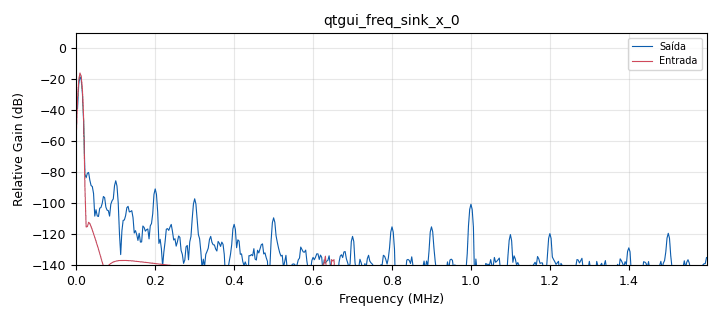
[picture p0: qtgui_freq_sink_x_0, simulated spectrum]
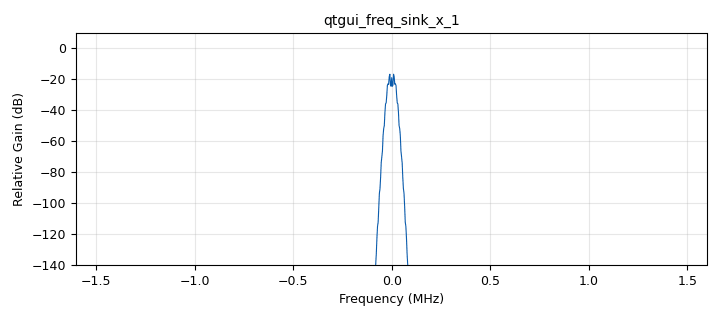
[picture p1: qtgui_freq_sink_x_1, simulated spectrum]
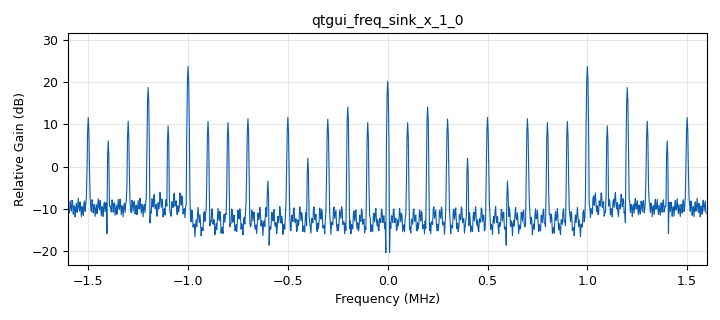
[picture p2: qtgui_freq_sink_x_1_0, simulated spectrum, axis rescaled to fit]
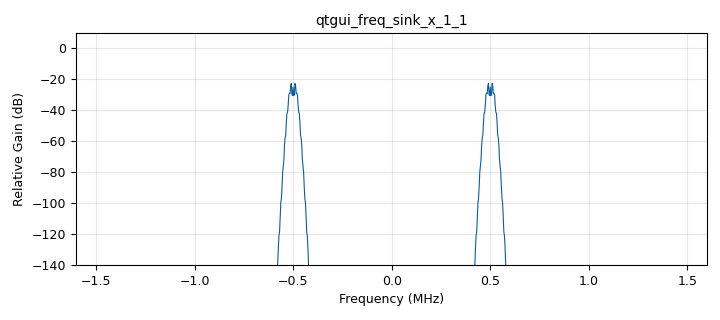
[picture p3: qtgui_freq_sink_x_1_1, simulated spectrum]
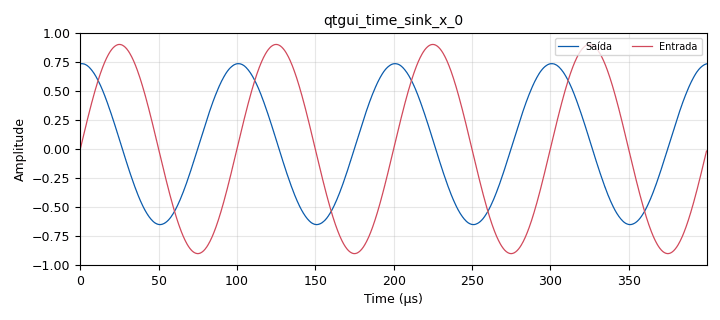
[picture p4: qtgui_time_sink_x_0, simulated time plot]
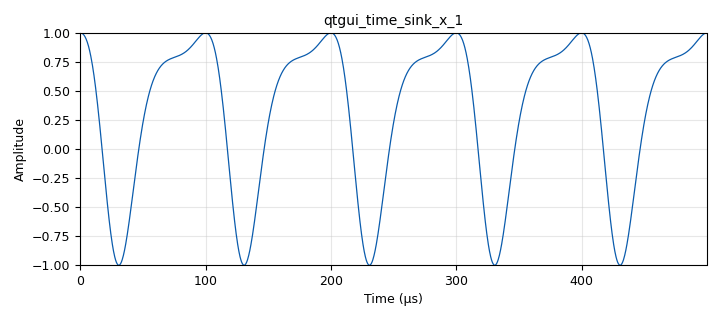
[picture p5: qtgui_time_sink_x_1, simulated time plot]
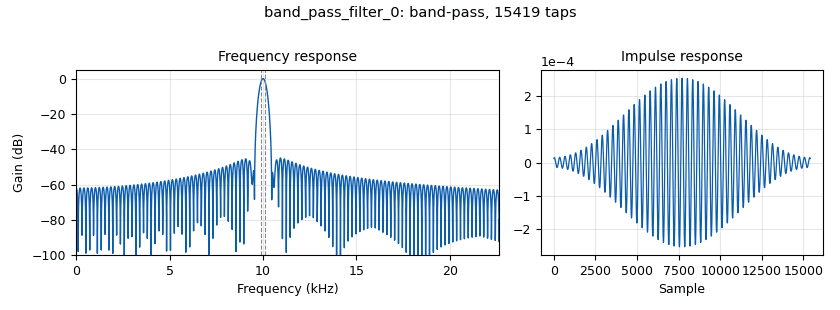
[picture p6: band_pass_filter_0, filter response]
options:
  parameters:
    author: luso
    generate_options: qt_gui
    id: quad_demodgrc
    output_language: python
    run_options: run
    title: Not titled yet
  states: {}

blocks:
- name: amplitude
  id: variable_qtgui_range
  parameters:
    min_len: '2'
    start: '0.1'
    step: '.1'
    stop: '1'
    value: '0.9'
  states: {}
- name: coeff
  id: variable_qtgui_range
  parameters:
    gui_hint: tab@3
    min_len: '10'
    start: '0.1'
    step: '.1'
    stop: '1'
    value: '0.10'
  states: {}
- name: duration
  id: variable
  parameters:
    value: '1'
  states: {}
- name: f_c
  id: variable
  parameters:
    value: '500000'
  states: {}
- name: freq
  id: variable_qtgui_range
  parameters:
    min_len: '2'
    start: '1000'
    step: '1000'
    stop: '100000'
    value: '10000'
  states: {}
- name: mode
  id: variable_qtgui_range
  parameters:
    gui_hint: tab@3
    min_len: '6'
    start: '0'
    step: '1'
    stop: '5'
    value: '0'
  states: {}
- name: samp_rate
  id: variable
  parameters:
    value: '3200000'
  states: {}
- name: threshold
  id: variable_qtgui_range
  parameters:
    gui_hint: tab@3
    min_len: '6'
    start: '0'
    step: '1'
    stop: '5'
    value: '0'
  states: {}
- name: analog_sig_source_x_0_0
  id: analog_sig_source_x
  parameters:
    amp: amplitude
    freq: freq
    offset: '0'
    phase: '0'
    samp_rate: samp_rate
    type: float
    waveform: analog.GR_SIN_WAVE
  states: {}
- name: analog_sig_source_x_0_0_0
  id: analog_sig_source_x
  parameters:
    amp: '1'
    freq: f_c
    offset: '0'
    phase: '0'
    samp_rate: samp_rate
    type: float
    waveform: analog.GR_COS_WAVE
  states: {}
- name: band_pass_filter_0
  id: band_pass_filter
  parameters:
    decim: '1'
    gain: '1'
    high_cutoff_freq: freq+(freq/100*amplitude)
    low_cutoff_freq: freq-(freq/100*amplitude)
    samp_rate: samp_rate
    type: fir_filter_fff
    width: freq/20
    win: window.WIN_HAMMING
  states: {}
- name: band_pass_filter_0_0
  id: band_pass_filter
  parameters:
    decim: '1'
    gain: '1'
    high_cutoff_freq: freq+freq/10
    low_cutoff_freq: freq/10
    samp_rate: samp_rate
    type: fir_filter_fff
    width: freq/20
    win: window.WIN_HAMMING
  states: {state: disabled}
- name: blocks_add_const_vxx_0
  id: blocks_add_const_vxx
  parameters:
    const: '1'
    type: float
  states: {}
- name: blocks_delay_0
  id: blocks_delay
  parameters:
    delay: '1'
    type: float
  states: {}
- name: blocks_divide_xx_0
  id: blocks_divide_xx
  parameters:
    type: float
  states: {}
- name: blocks_multiply_const_vxx_0
  id: blocks_multiply_const_vxx
  parameters:
    const: '100'
    type: float
  states: {}
- name: blocks_multiply_xx_0
  id: blocks_multiply_xx
  parameters:
    type: float
  states: {}
- name: blocks_throttle2_0
  id: blocks_throttle2
  parameters:
    samples_per_second: samp_rate
    type: float
  states: {}
- name: blocks_transcendental_0
  id: blocks_transcendental
  parameters:
    name: atan
    type: float
  states: {}
- name: blocks_vco_f_0
  id: blocks_vco_f
  parameters:
    amplitude: '1'
    samp_rate: samp_rate
    sensitivity: 2*c.pi*freq
  states: {}
- name: epy_block_0
  id: epy_block
  parameters:
    _source_code: |
      """
      Embedded Python Blocks:

      Each time this file is saved, GRC will instantiate the first class it finds
      to get ports and parameters of your block. The arguments to __init__ will
      be the parameters. All of them are required to have default values!
      """

      import numpy as np
      from gnuradio import gr

      class blk(gr.sync_block):  # other base classes are basic_block, decim_block, interp_block
          def __init__(self, threshold=0.0, mode=0, coeff=0.15):  # only default arguments here
              gr.sync_block.__init__(
                  self,
                  name='Envelope Detector',   # will show up in GRC
                  in_sig=[np.float32],
                  out_sig=[np.float32]
              )
              # if an attribute with the same name as a parameter is found,
              # a callback is registered (properties work, too).
              self.ry = 0
              self.threshold = threshold
              self.mode = mode
              self.coeff = coeff

          def work(self, input_items, output_items):
              """Envelope Detect with Half/Full Wave Rectifier"""
              buf = [0] * len(input_items[0])
              a0 = self.coeff
              b1 = 1 - a0

              for i in range(len(input_items[0])):
                  if self.mode == 1:
                      buf[i] = input_items[0][i]
                  else:
                      if input_items[0][i] > self.threshold:
                          buf[i] = input_items[0][i]
                      else:
                          buf[i] = 0

              for i in range(len(output_items[0])):
                  if i == 0:
                      output_items[0][i] = a0 * buf[i] + b1 * self.ry
                  else:
                      output_items[0][i] = a0 * buf[i] + b1 * output_items[0][i - 1]

              i = len(output_items[0]) - 1
              self.ry = output_items[0][i]
              return len(output_items[0])
    coeff: coeff
    mode: mode
    threshold: threshold
  states: {}
- name: import_0
  id: import
  parameters:
    imports: import numpy as c
  states: {}
- name: low_pass_filter_0
  id: low_pass_filter
  parameters:
    cutoff_freq: 1.2*1e3
    decim: '1'
    gain: '1'
    samp_rate: samp_rate
    type: fir_filter_fff
    width: '200'
    win: window.WIN_HAMMING
  states: {state: disabled}
- name: qtgui_freq_sink_x_0
  id: qtgui_freq_sink_x
  parameters:
    bw: samp_rate
    ctrlpanel: 'True'
    fc: '0'
    fftsize: '1024'
    freqhalf: 'False'
    gui_hint: tab@3
    label1: Saída
    label2: Entrada
    nconnections: '2'
    type: float
  states: {}
- name: qtgui_freq_sink_x_1
  id: qtgui_freq_sink_x
  parameters:
    bw: samp_rate
    ctrlpanel: 'True'
    fc: '0'
    fftsize: '1024'
    gui_hint: tab@0
    type: float
  states: {}
- name: qtgui_freq_sink_x_1_0
  id: qtgui_freq_sink_x
  parameters:
    bw: samp_rate
    ctrlpanel: 'True'
    fc: '0'
    fftsize: '1024'
    gui_hint: tab@2
    type: float
  states: {}
- name: qtgui_freq_sink_x_1_1
  id: qtgui_freq_sink_x
  parameters:
    bw: samp_rate
    ctrlpanel: 'True'
    fc: '0'
    fftsize: '1024'
    gui_hint: tab@1
    type: float
  states: {}
- name: qtgui_time_sink_x_0
  id: qtgui_time_sink_x
  parameters:
    ctrlpanel: 'True'
    gui_hint: tab@3
    label1: Saída
    label2: Entrada
    nconnections: '2'
    size: round(4*samp_rate/freq)
    srate: samp_rate
    type: float
  states: {}
- name: qtgui_time_sink_x_1
  id: qtgui_time_sink_x
  parameters:
    ctrlpanel: 'True'
    gui_hint: tab@0
    size: round(5*samp_rate/freq)
    srate: samp_rate
    type: float
  states: {}
- name: qtgui_time_sink_x_1_0
  id: qtgui_time_sink_x
  parameters:
    ctrlpanel: 'True'
    gui_hint: tab@2
    size: round(samp_rate/freq)
    srate: samp_rate
    type: float
  states: {}
- name: qtgui_time_sink_x_1_1
  id: qtgui_time_sink_x
  parameters:
    ctrlpanel: 'True'
    gui_hint: tab@1
    size: round(5*samp_rate/freq)
    srate: samp_rate
    type: float
  states: {}
- name: tab
  id: qtgui_tab_widget
  parameters:
    label0: VCO
    label1: FM
    label2: Discriminador
    label3: ENVELOPE
    num_tabs: '4'
  states: {}
- name: virtual_sink_0
  id: virtual_sink
  parameters:
    stream_id: original_source
  states: {}
- name: virtual_sink_1
  id: virtual_sink
  parameters:
    stream_id: discriminator
  states: {}
- name: virtual_sink_2
  id: virtual_sink
  parameters:
    stream_id: VCO
  states: {}
- name: virtual_sink_3
  id: virtual_sink
  parameters:
    stream_id: FM
  states: {}
- name: virtual_source_0
  id: virtual_source
  parameters:
    stream_id: original_source
  states: {}
- name: virtual_source_1
  id: virtual_source
  parameters:
    stream_id: discriminator
  states: {}
- name: virtual_source_2
  id: virtual_source
  parameters:
    stream_id: FM
  states: {}
- name: virtual_source_3
  id: virtual_source
  parameters:
    stream_id: VCO
  states: {}

connections:
- [analog_sig_source_x_0_0, '0', blocks_add_const_vxx_0, '0']
- [analog_sig_source_x_0_0, '0', virtual_sink_0, '0']
- [analog_sig_source_x_0_0_0, '0', blocks_multiply_xx_0, '0']
- [band_pass_filter_0, '0', qtgui_freq_sink_x_0, '0']
- [band_pass_filter_0, '0', qtgui_time_sink_x_0, '0']
- [blocks_add_const_vxx_0, '0', blocks_vco_f_0, '0']
- [blocks_delay_0, '0', blocks_divide_xx_0, '1']
- [blocks_divide_xx_0, '0', blocks_transcendental_0, '0']
- [blocks_multiply_const_vxx_0, '0', blocks_throttle2_0, '0']
- [blocks_multiply_xx_0, '0', qtgui_freq_sink_x_1_1, '0']
- [blocks_multiply_xx_0, '0', qtgui_time_sink_x_1_1, '0']
- [blocks_multiply_xx_0, '0', virtual_sink_3, '0']
- [blocks_throttle2_0, '0', qtgui_freq_sink_x_1_0, '0']
- [blocks_throttle2_0, '0', qtgui_time_sink_x_1_0, '0']
- [blocks_throttle2_0, '0', virtual_sink_1, '0']
- [blocks_transcendental_0, '0', blocks_multiply_const_vxx_0, '0']
- [blocks_vco_f_0, '0', qtgui_freq_sink_x_1, '0']
- [blocks_vco_f_0, '0', qtgui_time_sink_x_1, '0']
- [blocks_vco_f_0, '0', virtual_sink_2, '0']
- [epy_block_0, '0', band_pass_filter_0, '0']
- [low_pass_filter_0, '0', qtgui_freq_sink_x_1_0, '0']
- [low_pass_filter_0, '0', qtgui_time_sink_x_1_0, '0']
- [low_pass_filter_0, '0', virtual_sink_1, '0']
- [virtual_source_0, '0', qtgui_freq_sink_x_0, '1']
- [virtual_source_0, '0', qtgui_time_sink_x_0, '1']
- [virtual_source_1, '0', epy_block_0, '0']
- [virtual_source_2, '0', blocks_delay_0, '0']
- [virtual_source_2, '0', blocks_divide_xx_0, '0']
- [virtual_source_3, '0', blocks_multiply_xx_0, '1']

metadata:
  file_format: 1
  grc_version: 3.10.10.0
